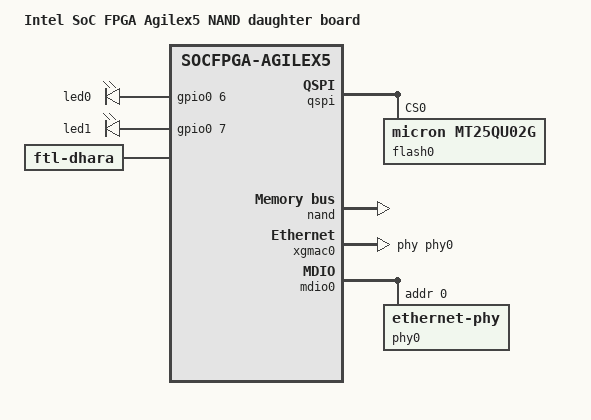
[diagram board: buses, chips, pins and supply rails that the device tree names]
/*
 * SPDX-FileCopyrightText: Copyright (c) 2026, Altera Corporation.
 *
 * SPDX-License-Identifier: Apache-2.0
 */

/dts-v1/;

#include "intel_socfpga_agilex5_socdk_common.dtsi"

/ {
	model = "Intel SoC FPGA Agilex5 NAND daughter board";
	compatible = "intel,socfpga-agilex5-socdk-nand", "intel,socfpga-agilex5";

	chosen {
		/* Image slots for MCUboot. The NAND is not memory mapped and
		 * nothing is linked to it.
		 */
		zephyr,flash = &nand;
		zephyr,flash-controller = &nand;
		zephyr,uart-mcumgr = &uart0;
	};

	aliases {
		led0 = &led0;
		led1 = &led1;
		nand = &nand;
	};

	leds {
		compatible = "gpio-leds";

		led0: led0 {
			gpios = <&gpio0 6 GPIO_ACTIVE_HIGH>;
		};

		led1: led1 {
			gpios = <&gpio0 7 GPIO_ACTIVE_HIGH>;
		};
	};
};

&qspi {
	status = "okay";

	flash0: flash@0 {
		compatible = "micron,mt25qu02g";
		reg = <0>;
		size = <DT_SIZE_M(256*8)>; /* in bits */
		sector-size = <65536>;
		subsector-size = <4096>;
		page-size = <256>;
		address-byte = <2>;
		bytes-per-block = <16>;
		status = "okay";
	};
};

&nand {
	status = "okay";

	partitions {
		compatible = "fixed-partitions";
		#address-cells = <1>;
		#size-cells = <1>;

		/* TF-A FIP, read from 0x200000 when TF-A boots from NAND. Its BL33
		 * is MCUboot. Block 10 (0xa00000), right after it, is bad on the
		 * SoC DK.
		 */
		boot_partition: partition@200000 {
			label = "fip";
			reg = <0x00200000 DT_SIZE_M(8)>;
		};

		/* MCUboot image slots, sized for the 7 MiB an application is
		 * loaded to. Raw NAND: a bad block is not skipped.
		 */
		slot0_partition: partition@b00000 {
			label = "image-0";
			reg = <0x00b00000 DT_SIZE_M(8)>;
		};

		slot1_partition: partition@1300000 {
			label = "image-1";
			reg = <0x01300000 DT_SIZE_M(8)>;
		};

		nand_storage_partition: partition@1b00000 {
			label = "storage";
			reg = <0x01b00000 0xfe500000>;
		};
	};
};

/ {
	ftl {
		compatible = "zephyr,ftl-dhara";
		partition = <&nand_storage_partition>;
		disk-name = "NAND";
		/* Must be >= NAND page size (often 8 KiB or 16 KiB). */
		buffer-size = <16384>;
	};
};

&xgmac0 {
	full-duplex-mode-en;
	num-dma-ch = <1>;
	num-tx-queues = <1>;
	num-rx-queues = <1>;
	num-tc = <1>;
	dma-ch-rdrl = <128>;
	dma-ch-tdrl = <128>;
	max-speed = <1000>;
	max-frame-size = <9018>;
	jumbo-pkt-en;
	zephyr,random-mac-address;
	phy-handle = <&phy0>;
};

&mdio0 {
	csr-clock-indx = <4>;

	phy0: phy@0 {
		compatible = "ethernet-phy";
		reg = <0>;
	};
};
